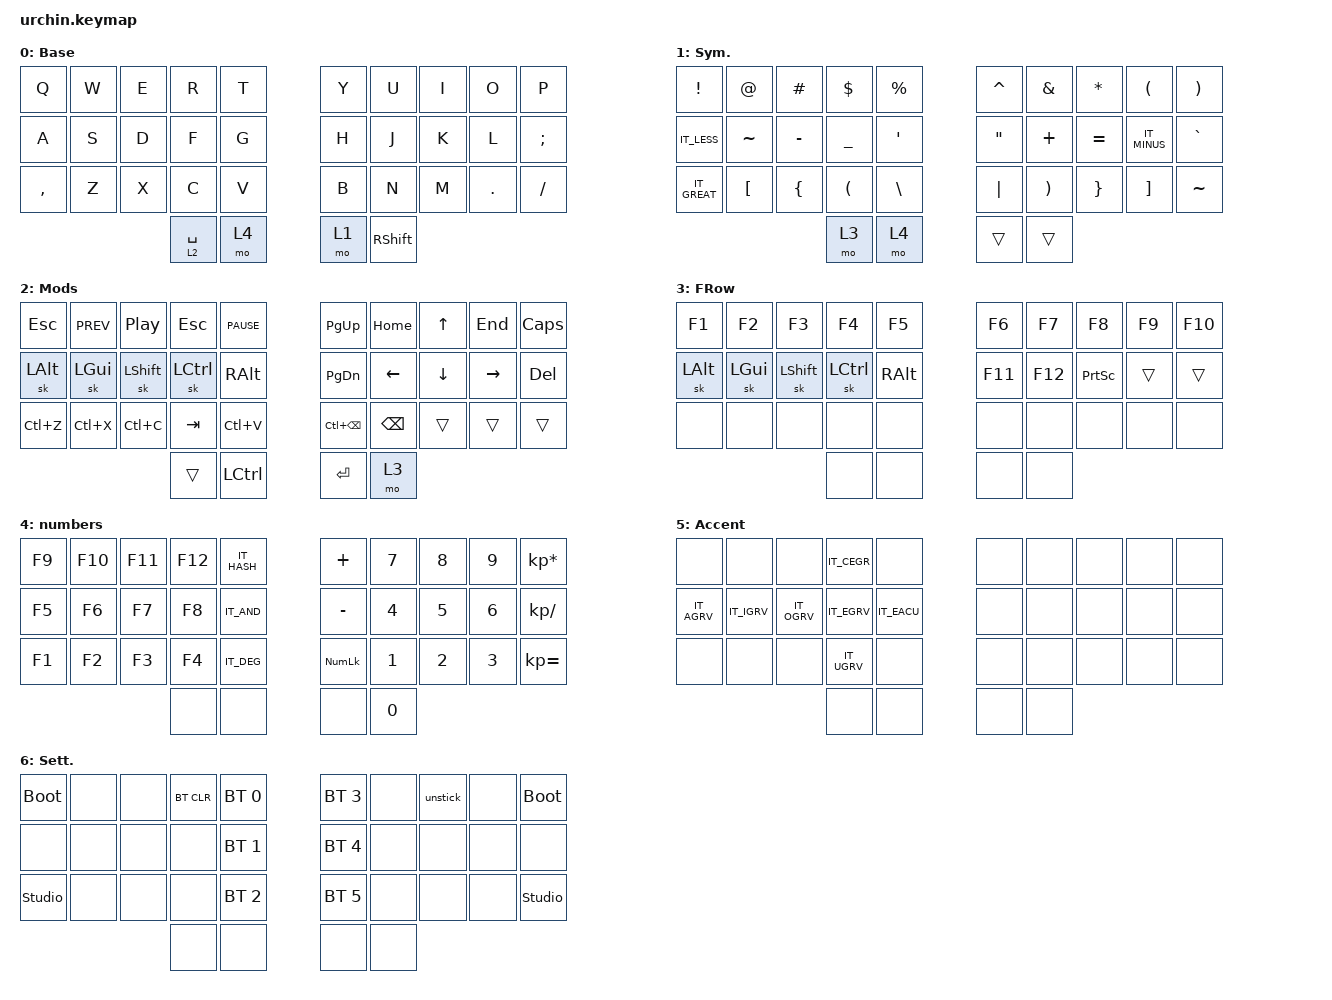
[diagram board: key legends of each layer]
/*
 * Copyright (c) 2020 duckyb
 *
 * SPDX-License-Identifier: MIT
 */

#include <behaviors.dtsi>
#include <dt-bindings/zmk/bt.h>
#include <dt-bindings/zmk/keys.h>
#include "keymap_italian.h"

// Layer definitions

#define BASE 0
#define SYM 1
#define EXT 2
#define FNC 3
#define SYM2 4
#define ACCENT 5
#define SETTINGS 6

// -----------------

&sk {
    // don't release mods on other mods presses

    ignore-modifiers;
};

/ {
    behaviors {
        // Enables holding the first mod-tap key
        // by performing a tap-release-hold sequence.
        // To use it: "&qt KEYCODE1 KEYCODE2"

        qt: quick_tap {
            compatible = "zmk,behavior-hold-tap";
            label = "QUICK_TAP";
            #binding-cells = <2>;
            flavor = "hold-preferred";
            tapping-term-ms = <200>;
            quick-tap-ms = <200>;
            bindings = <&kp>, <&kp>;
        };
    };

    macros {
        // sometimes my device thinks a modifier is being held down
        // pressing all modifiers fixes it.

        unstick: unstick {
            label = "ZM_unstick";
            compatible = "zmk,behavior-macro";
            #binding-cells = <0>;
            bindings = <&kp LSHIFT &kp RSHIFT &kp LCTRL &kp RCTRL &kp LALT &kp RALT &kp LGUI &kp RGUI>;
        };
    };

    combos {
        compatible = "zmk,combos";

        // both right thumb keys

        combo_accent {
            timeout-ms = <200>;
            key-positions = <32 33>;
            bindings = <&mo 5>;
        };

        // internal-left & external-right thumb keys

        combo_sym2 {
            timeout-ms = <200>;
            key-positions = <31 33>;
            bindings = <&mo 4>;
        };

        // both left thumb keys

        combo_settings {
            timeout-ms = <200>;
            key-positions = <30 31>;
            bindings = <&mo 6>;
        };

        // left index & middle fingers (home-row)
        // hold control & space for Adobe workflow

        control_L {
            bindings = <&kp LEFT_CONTROL>;
            key-positions = <13 12>;
        };

        control_R {
            bindings = <&kp LEFT_CONTROL>;
            key-positions = <16 17>;
        };

        shift_L {
            bindings = <&kp LEFT_SHIFT>;
            key-positions = <12 11>;
        };

        shift_R {
            bindings = <&kp RIGHT_SHIFT>;
            key-positions = <17 18>;
        };

        alt_L {
            bindings = <&kp LEFT_ALT>;
            key-positions = <10 11>;
        };

        alt_R {
            bindings = <&kp LEFT_ALT>;
            key-positions = <19 18>;
        };

        control_shift_L {
            bindings = <&kp LS(LEFT_CONTROL)>;
            key-positions = <13 12 11>;
        };

        control_shift_R {
            bindings = <&kp LS(LEFT_CONTROL)>;
            key-positions = <16 17 18>;
        };

        mac_lan_layout {
            bindings = <&kp LC(SPACE)>;
            key-positions = <27 28>;
        };

        control_alt_L {
            bindings = <&kp LA(LEFT_CONTROL)>;
            key-positions = <13 12 10>;
        };

        control_alt_R {
            bindings = <&kp LA(LEFT_CONTROL)>;
            key-positions = <16 17 19>;
        };

        shift_alt_L {
            bindings = <&kp LA(LEFT_SHIFT)>;
            key-positions = <12 11 10>;
        };

        shift_alt_R {
            bindings = <&kp LA(LEFT_SHIFT)>;
            key-positions = <19 18 17>;
        };

        gui_L {
            bindings = <&kp LEFT_GUI>;
            key-positions = <23 22>;
        };

        gui_R {
            bindings = <&kp LEFT_GUI>;
            key-positions = <26 27>;
        };

        studio_unlock {
            bindings = <&studio_unlock>;
            key-positions = <30 31 32 33>;
        };
    };

    keymap {
        compatible = "zmk,keymap";

        // Base alpha layer

        default_layer {
            label = "Base";
            bindings = <
&kp Q      &kp W  &kp E  &kp R        &kp T  &kp Y  &kp U       &kp I  &kp O    &kp P
&kp A      &kp S  &kp D  &kp F        &kp G  &kp H  &kp J       &kp K  &kp L    &kp SEMICOLON
&kp COMMA  &kp Z  &kp X  &kp C        &kp V  &kp B  &kp N       &kp M  &kp DOT  &kp SLASH
                         &lt 2 SPACE  &mo 4  &mo 1  &kp RSHIFT
            >;
        };

        // Numbers and high frequency symbols

        sym_layer {
            label = "Sym.";
            bindings = <
&kp EXCL      &kp AT            &kp HASH        &kp DOLLAR            &kp PERCENT       &kp CARET          &kp AMPERSAND          &kp ASTERISK     &kp LEFT_PARENTHESIS  &kp RIGHT_PARENTHESIS
&kp IT_LESS   &kp TILDE         &kp MINUS       &kp UNDER             &kp SINGLE_QUOTE  &kp DOUBLE_QUOTES  &kp PLUS               &kp EQUAL        &kp IT_MINUS          &kp GRAVE
&kp IT_GREAT  &kp LEFT_BRACKET  &kp LEFT_BRACE  &kp LEFT_PARENTHESIS  &kp BACKSLASH     &kp PIPE           &kp RIGHT_PARENTHESIS  &kp RIGHT_BRACE  &kp RIGHT_BRACKET     &kp TILDE
                                                &mo 3                 &mo 4             &trans             &trans
            >;
        };

        // Main modifiers and arrow keys

        ext_layer {
            label = "Mods";
            bindings = <
&kp ESC    &kp C_PREV  &kp C_PP    &kp ESCAPE  &kp C_PAUSE  &kp PG_UP     &kp HOME  &kp UP    &kp END    &kp CAPS
&sk LALT   &sk LGUI    &sk LSHIFT  &sk LCTRL   &kp RALT     &kp PG_DN     &kp LEFT  &kp DOWN  &kp RIGHT  &kp DEL
&kp LC(Z)  &kp LC(X)   &kp LC(C)   &kp TAB     &kp LC(V)    &kp LC(BSPC)  &kp BSPC  &trans    &trans     &trans
                                   &trans      &kp LCTRL    &kp ENTER     &mo 3
            >;
        };

        // Function keys with modifiers

        fnc_layer {
            label = "FRow";
            bindings = <
&kp F1    &kp F2    &kp F3      &kp F4     &kp F5    &kp F6   &kp F7   &kp F8           &kp F9  &kp F10
&sk LALT  &sk LGUI  &sk LSHIFT  &sk LCTRL  &kp RALT  &kp F11  &kp F12  &kp PRINTSCREEN  &trans  &trans
&none     &none     &none       &none      &none     &none    &none    &none            &none   &none
                                &none      &none     &none    &none
            >;
        };

        // Low frequency symbols.

        numbers {
            label = "numbers";
            bindings = <
&kp F9  &kp F10  &kp F11  &kp F12  &kp IT_HASH  &kp PLUS        &kp NUMBER_7  &kp NUMBER_8  &kp NUMBER_9  &kp KP_ASTERISK
&kp F5  &kp F6   &kp F7   &kp F8   &kp IT_AND   &kp MINUS       &kp NUMBER_4  &kp NUMBER_5  &kp NUMBER_6  &kp KP_DIVIDE
&kp F1  &kp F2   &kp F3   &kp F4   &kp IT_DEG   &kp KP_NUMLOCK  &kp NUMBER_1  &kp NUMBER_2  &kp NUMBER_3  &kp KP_EQUAL
                          &none    &none        &none           &kp NUMBER_0
            >;
        };

        // Used to type regional accents.

        accent_layer {
            label = "Accent";
            bindings = <
&none        &none        &none        &kp IT_CEGR  &none        &none  &none  &none  &none  &none
&kp IT_AGRV  &kp IT_IGRV  &kp IT_OGRV  &kp IT_EGRV  &kp IT_EACU  &none  &none  &none  &none  &none
&none        &none        &none        &kp IT_UGRV  &none        &none  &none  &none  &none  &none
                                       &none        &none        &none  &none
            >;
        };

        // Used to change the keyboard's settings.

        settings_layer {
            label = "Sett.";
            bindings = <
&bootloader     &none  &none  &bt BT_CLR  &bt BT_SEL 0  &bt BT_SEL 3  &none  &unstick  &none  &bootloader
&none           &none  &none  &none       &bt BT_SEL 1  &bt BT_SEL 4  &none  &none     &none  &none
&studio_unlock  &none  &none  &none       &bt BT_SEL 2  &bt BT_SEL 5  &none  &none     &none  &studio_unlock
                              &none       &none         &none         &none
            >;
        };
    };
};
